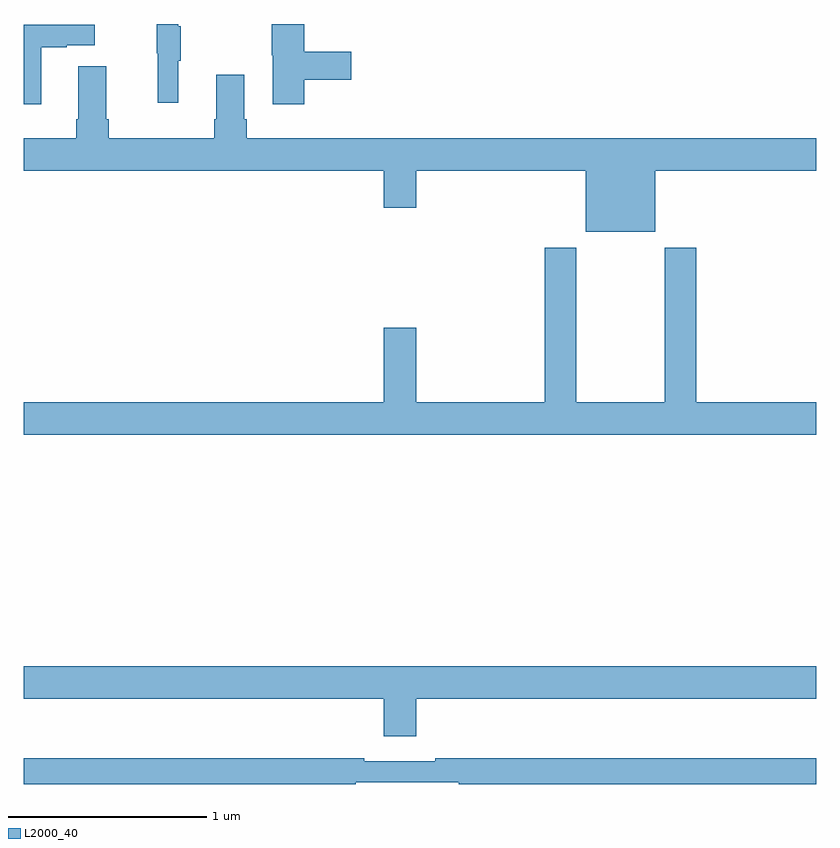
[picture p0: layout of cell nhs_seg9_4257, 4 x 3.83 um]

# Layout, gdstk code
import gdstk
lib = gdstk.Library(unit=1e-6, precision=1e-09)
def P(c, l, *ps):  # polygons
    for p in ps: c.add(gdstk.Polygon(p, *l))
L2000_40 = (2000, 40)

nhs_seg9_4257 = lib.new_cell('nhs_seg9_4257')
P(nhs_seg9_4257, L2000_40, [(356.417,1190.218),(356.653,1190.218),(356.653,1190.36),(356.417,1190.36),(356.417,1190.5),(356.251,1190.5),(356.251,1190.343),(356.258,1190.343),(356.258,1190.094),(356.417,1190.094)],
  [(355.781,1190.315),(355.792,1190.315),(355.792,1190.489),(355.781,1190.489),(355.781,1190.5),(355.671,1190.5),(355.671,1190.352),(355.678,1190.352),(355.678,1190.103),(355.781,1190.103)],
  [(355.09,1190.383),(355.217,1190.383),(355.217,1190.393),(355.36,1190.393),(355.36,1190.497),(355,1190.497),(355,1190.094),(355.09,1190.094)],
  [(358.186,1189.76),(359,1189.76),(359,1189.924),(356.126,1189.924),(356.126,1190.02),(356.113,1190.02),(356.113,1190.245),(355.973,1190.245),(355.973,1190.02),(355.961,1190.02),(355.961,1189.924),(355.43,1189.924),(355.43,1190.02),(355.417,1190.02),(355.417,1190.287),(355.277,1190.287),(355.277,1190.02),(355.265,1190.02),(355.265,1189.924),(355,1189.924),(355,1189.76),(356.816,1189.76),(356.816,1189.572),(356.98,1189.572),(356.98,1189.76),(357.836,1189.76),(357.836,1189.451),(358.186,1189.451)],
  [(359,1188.592),(358.394,1188.592),(358.394,1189.372),(358.234,1189.372),(358.234,1188.592),(357.789,1188.592),(357.789,1189.372),(357.629,1189.372),(357.629,1188.592),(356.98,1188.592),(356.98,1188.967),(356.816,1188.967),(356.816,1188.592),(355,1188.592),(355,1188.428),(359,1188.428)],
  [(356.98,1187.096),(359,1187.096),(359,1187.26),(355,1187.26),(355,1187.096),(356.816,1187.096),(356.816,1186.908),(356.98,1186.908)],
  [(356.676,1186.674),(357.196,1186.674),(357.196,1186.666),(359,1186.666),(359,1186.795),(357.076,1186.795),(357.076,1186.782),(356.72,1186.782),(356.72,1186.795),(355,1186.795),(355,1186.666),(356.676,1186.666)])

lib.write_gds('nhs_seg9_4257.gds')
